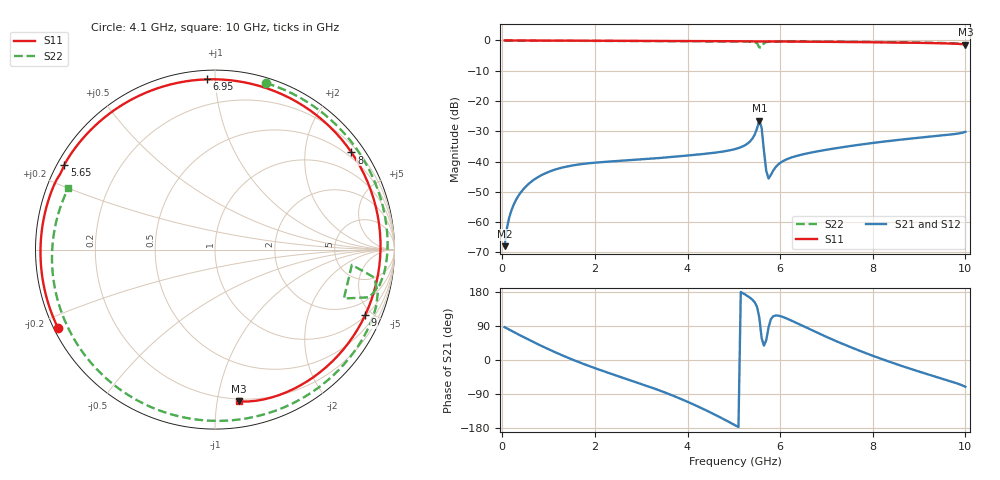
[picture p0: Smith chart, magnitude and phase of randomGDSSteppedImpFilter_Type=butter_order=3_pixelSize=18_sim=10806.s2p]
! freq	dB(S11)	phase(S11)	dB(S12)	phase(S12)
!  dB(S21)	phase(S21)	dB(S22)	phase(S22)
!S-par simulation data
#  GHz  S  DB  R 50
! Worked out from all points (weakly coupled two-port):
!   200 points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, 50 MHz to 10 GHz, reference 50 ohm
!   highest |S21| = -26.47 dB at 5.55 GHz (marker M1); lowest = -68.0 dB at 50 MHz (marker M2)
!   lowest |S11| = -1.3 dB at 10 GHz (marker M3), VSWR 12.91, Z = 9.12 - j57.8 ohm
!   |S11| at or under -10 dB: nowhere
!   |S22| runs from -2.3 to 0.0 dB; largest |S21 - S12| = 0
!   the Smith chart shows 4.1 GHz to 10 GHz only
!   S11 on the Smith chart (normalised r, x): 4.1 GHz: 0.01, -0.24; 5.65 GHz: 0.02, +0.26; 6.95 GHz: 0.05, +0.95; 8 GHz: 0.37, +3.09; 9 GHz: 1.04, -4.57; 10 GHz: 0.18, -1.16
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0.05  -0.00 -2.1  -67.96 86.7  -67.96 86.7  -0.00 -4.4
0.2  -0.01 -8.3  -56.00 77.0  -56.00 77.0  -0.03 -17.6
0.5  -0.03 -20.6  -48.39 58.0  -48.39 58.0  -0.06 -43.4
1.1  -0.06 -44.9  -42.86 22.8  -42.86 22.8  -0.11 -91.7
1.75  -0.09 -70.2  -40.77 -10.2  -40.77 -10.2  -0.15 -138.3
2.55  -0.12 -99.6  -39.77 -44.6  -39.77 -44.6  -0.18 170.0
3.4  -0.16 -129.3  -38.82 -80.6  -38.82 -80.6  -0.22 117.0
4.1  -0.19 -153.3  -37.87 -115.7  -37.87 -115.7  -0.26 73.0
5.05  -0.26 173.2  -35.78 -173.7  -35.78 -173.7  -0.30 14.3
5.4  -0.29 160.0  -32.44 159.2  -32.44 159.2  -0.43 -8.1
5.55  -0.35 154.2  -26.47 111.9  -26.47 111.9  -2.29 -20.8
5.6  -0.35 152.6  -28.83 57.8  -28.83 57.8  -2.30 -6.3
5.65  -0.33 150.6  -36.46 38.0  -36.46 38.0  -0.90 -10.0
5.75  -0.32 146.6  -45.60 86.5  -45.60 86.5  -0.44 -18.9
6.05  -0.35 134.1  -39.96 113.9  -39.96 113.9  -0.34 -36.5
6.7  -0.42 104.9  -36.94 77.7  -36.94 77.7  -0.36 -67.3
6.95  -0.45 92.7  -36.24 63.7  -36.24 63.7  -0.38 -78.0
7.45  -0.52 66.5  -35.02 37.5  -35.02 37.5  -0.43 -98.2
8  -0.60 35.4  -33.86 11.2  -33.86 11.2  -0.50 -119.2
8.35  -0.66 14.9  -33.21 -4.2  -33.21 -4.2  -0.55 -132.2
9  -0.79 -23.5  -32.13 -30.6  -32.13 -30.6  -0.69 -157.0
10  -1.35 -80.9  -30.16 -70.6  -30.16 -70.6  -1.05 157.2
